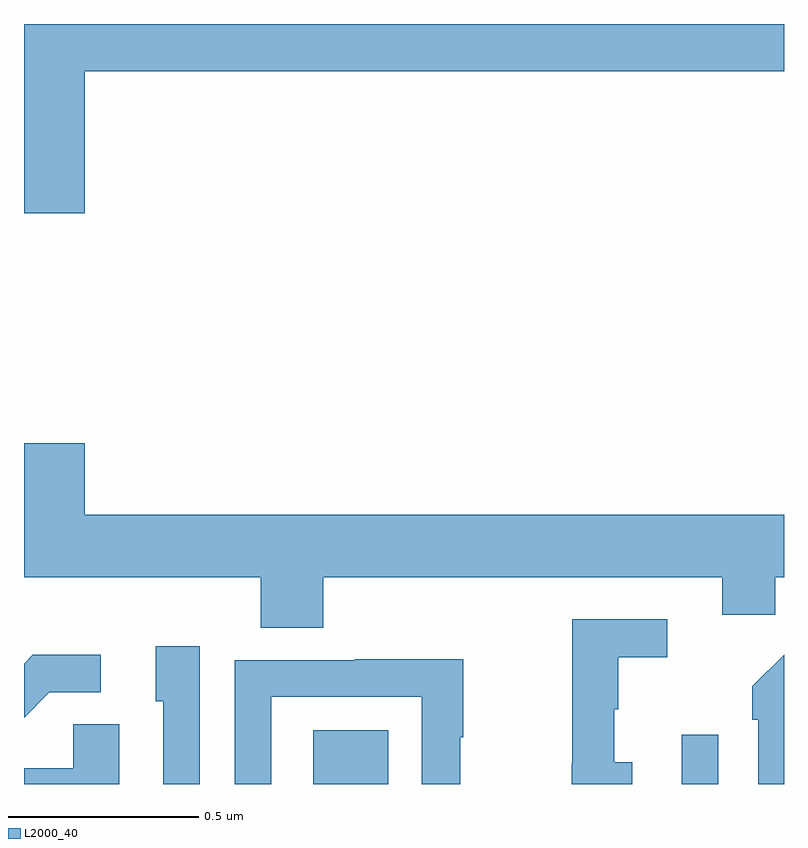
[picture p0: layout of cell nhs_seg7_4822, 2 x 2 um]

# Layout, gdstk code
import gdstk
lib = gdstk.Library(unit=1e-6, precision=1e-09)
def R(c, l, rs):  # rectangles x0, y0, x1, y1
    for r in rs: c.add(gdstk.rectangle(r[:2], r[2:], *l))
def P(c, l, *ps):  # polygons
    for p in ps: c.add(gdstk.Polygon(p, *l))
L2000_40 = (2000, 40)

nhs_seg7_4822 = lib.new_cell('nhs_seg7_4822')
R(nhs_seg7_4822, L2000_40, [(177.761,1072,177.958,1072.141), (178.731,1072,178.827,1072.129)])
P(nhs_seg7_4822, L2000_40, [(177.16,1073.876),(179,1073.876),(179,1074),(177,1074),(177,1073.502),(177.16,1073.502)],
  [(177.788,1072.544),(178.838,1072.544),(178.838,1072.446),(178.977,1072.446),(178.977,1072.544),(179,1072.544),(179,1072.708),(177.16,1072.708),(177.16,1072.897),(177,1072.897),(177,1072.544),(177.623,1072.544),(177.623,1072.411),(177.788,1072.411)],
  [(178.6,1072.057),(178.553,1072.057),(178.553,1072.197),(178.564,1072.197),(178.564,1072.333),(178.693,1072.333),(178.693,1072.434),(178.443,1072.434),(178.443,1072.053),(178.442,1072.053),(178.442,1072),(178.6,1072)],
  [(177.462,1072.363),(177.347,1072.363),(177.347,1072.218),(177.366,1072.218),(177.366,1072),(177.462,1072)],
  [(177.067,1072.242),(177.202,1072.242),(177.202,1072.34),(177.023,1072.34),(177,1072.317),(177,1072.175)],
  [(179,1072.34),(178.917,1072.257),(178.917,1072.169),(178.932,1072.169),(178.932,1072),(179,1072)],
  [(177.651,1072.23),(178.047,1072.23),(178.047,1072),(178.148,1072),(178.148,1072.123),(178.156,1072.123),(178.156,1072.328),(177.871,1072.328),(177.871,1072.326),(177.555,1072.326),(177.555,1072),(177.651,1072)],
  [(177.25,1072.157),(177.129,1072.157),(177.129,1072.042),(177,1072.042),(177,1072),(177.25,1072)])

lib.write_gds('nhs_seg7_4822.gds')
